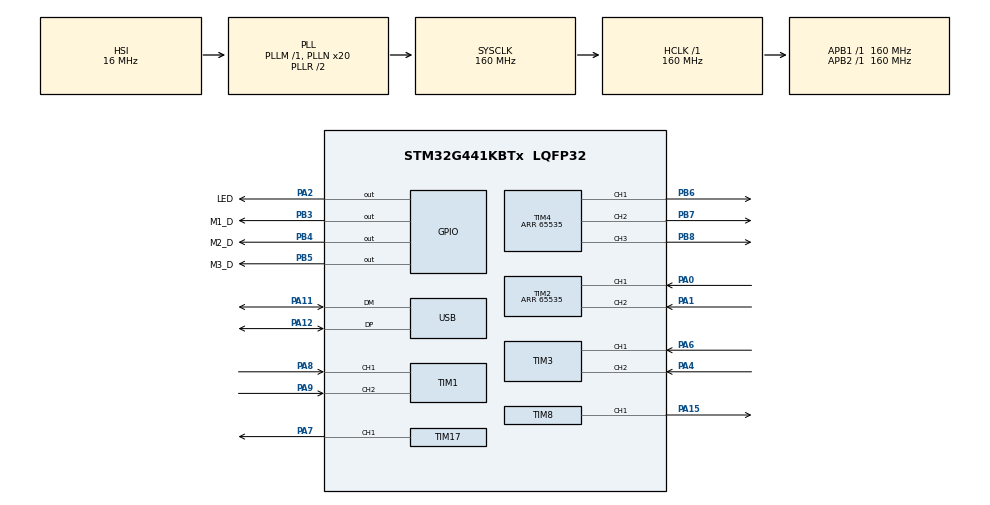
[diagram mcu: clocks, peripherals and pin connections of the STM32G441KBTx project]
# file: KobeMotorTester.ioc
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Dma.DMA_GENERATOR0.0.Direction=DMA_MEMORY_TO_PERIPH
Dma.DMA_GENERATOR0.0.EventEnable=DISABLE
Dma.DMA_GENERATOR0.0.Instance=DMA1_Channel1
Dma.DMA_GENERATOR0.0.MemDataAlignment=DMA_MDATAALIGN_WORD
Dma.DMA_GENERATOR0.0.MemInc=DMA_MINC_ENABLE
Dma.DMA_GENERATOR0.0.Mode=DMA_NORMAL
Dma.DMA_GENERATOR0.0.PeriphDataAlignment=DMA_PDATAALIGN_WORD
Dma.DMA_GENERATOR0.0.PeriphInc=DMA_PINC_DISABLE
Dma.DMA_GENERATOR0.0.Polarity=HAL_DMAMUX_REQ_GEN_RISING
Dma.DMA_GENERATOR0.0.Priority=DMA_PRIORITY_HIGH
Dma.DMA_GENERATOR0.0.RequestNumber=1
Dma.DMA_GENERATOR0.0.SignalID=NONE
Dma.DMA_GENERATOR0.0.SyncEnable=DISABLE
Dma.DMA_GENERATOR0.0.SyncPolarity=HAL_DMAMUX_SYNC_NO_EVENT
Dma.DMA_GENERATOR0.0.SyncRequestNumber=1
Dma.DMA_GENERATOR0.0.SyncSignalID=NONE
Dma.Request0=DMA_GENERATOR0
Dma.Request1=TIM8_CH1
Dma.TIM8_CH1.1.Direction=DMA_MEMORY_TO_PERIPH
Dma.TIM8_CH1.1.EventEnable=DISABLE
Dma.TIM8_CH1.1.Instance=DMA1_Channel2
Dma.TIM8_CH1.1.MemDataAlignment=DMA_MDATAALIGN_HALFWORD
Dma.TIM8_CH1.1.MemInc=DMA_MINC_ENABLE
Dma.TIM8_CH1.1.Mode=DMA_CIRCULAR
Dma.TIM8_CH1.1.PeriphDataAlignment=DMA_PDATAALIGN_HALFWORD
Dma.TIM8_CH1.1.PeriphInc=DMA_PINC_DISABLE
Dma.TIM8_CH1.1.Polarity=HAL_DMAMUX_REQ_GEN_RISING
Dma.TIM8_CH1.1.Priority=DMA_PRIORITY_HIGH
Dma.TIM8_CH1.1.RequestNumber=1
Dma.TIM8_CH1.1.SignalID=NONE
Dma.TIM8_CH1.1.SyncEnable=DISABLE
Dma.TIM8_CH1.1.SyncPolarity=HAL_DMAMUX_SYNC_NO_EVENT
Dma.TIM8_CH1.1.SyncRequestNumber=1
Dma.TIM8_CH1.1.SyncSignalID=NONE
Mcu.Family=STM32G4
Mcu.Name=STM32G441KBTx
Mcu.Package=LQFP32
NVIC.DMA1_Channel2_IRQn=true\:0\:0\:false\:false\:true\:false\:true
NVIC.PriorityGroup=NVIC_PRIORITYGROUP_4
NVIC.TIM4_IRQn=true\:0\:0\:false\:false\:true\:true\:true
NVIC.TIM6_DAC_IRQn=true\:0\:0\:false\:false\:true\:true\:true
NVIC.USB_LP_IRQn=true\:0\:0\:false\:false\:true\:false\:true
PA0.Signal=S_TIM2_CH1
PA1.Signal=S_TIM2_CH2
PA11.Mode=Device
PA11.Signal=USB_DM
PA12.Mode=Device
PA12.Signal=USB_DP
PA13.Mode=Serial_Wire
PA13.Signal=SYS_JTMS-SWDIO
PA14.Mode=Serial_Wire
PA14.Signal=SYS_JTCK-SWCLK
PA15.Signal=S_TIM8_CH1
PA2.GPIO_Label=LED
PA2.Signal=GPIO_Output
PA4.Signal=S_TIM3_CH2
PA6.Signal=S_TIM3_CH1
PA7.Signal=S_TIM17_CH1
PA8.Signal=S_TIM1_CH1
PA9.Signal=S_TIM1_CH2
PB3.GPIO_Label=M1_D
PB3.Signal=GPIO_Output
PB4.GPIO_Label=M2_D
PB4.Signal=GPIO_Output
PB5.GPIO_Label=M3_D
PB5.Signal=GPIO_Output
PB6.Signal=S_TIM4_CH1
PB7.Signal=S_TIM4_CH2
PB8-BOOT0.Signal=S_TIM4_CH3
ProjectManager.HeapSize=0x200
ProjectManager.StackSize=0x400
ProjectManager.TargetToolchain=STM32CubeIDE
RCC.ADC12Freq_Value=160000000
RCC.AHBFreq_Value=160000000
RCC.APB1Freq_Value=160000000
RCC.APB1TimFreq_Value=160000000
RCC.APB2Freq_Value=160000000
RCC.APB2TimFreq_Value=160000000
RCC.CK48CLockSelection=RCC_USBCLKSOURCE_HSI48
RCC.CortexFreq_Value=160000000
RCC.EXTERNAL_CLOCK_VALUE=12288000
RCC.HCLKFreq_Value=160000000
RCC.HSE_VALUE=8000000
RCC.HSI48_VALUE=48000000
RCC.HSI_VALUE=16000000
RCC.LSE_VALUE=32768
RCC.PLLN=20
RCC.PLLQ=RCC_PLLQ_DIV4
RCC.SYSCLKFreq_VALUE=160000000
RCC.SYSCLKSource=RCC_SYSCLKSOURCE_PLLCLK
RCC.USBFreq_Value=48000000
RCC.VCOOutputFreq_Value=320000000
SH.S_TIM17_CH1.0=TIM17_CH1,PWM Generation1 CH1
SH.S_TIM1_CH1.0=TIM1_CH1,Encoder_Interface
SH.S_TIM1_CH2.0=TIM1_CH2,Encoder_Interface
SH.S_TIM2_CH1.0=TIM2_CH1,Encoder_Interface
SH.S_TIM2_CH2.0=TIM2_CH2,Encoder_Interface
SH.S_TIM3_CH1.0=TIM3_CH1,Encoder_Interface
SH.S_TIM3_CH2.0=TIM3_CH2,Encoder_Interface
SH.S_TIM4_CH1.0=TIM4_CH1,PWM Generation1 CH1
SH.S_TIM4_CH2.0=TIM4_CH2,PWM Generation2 CH2
SH.S_TIM4_CH3.0=TIM4_CH3,PWM Generation3 CH3
SH.S_TIM8_CH1.0=TIM8_CH1,PWM Generation1 CH1
TIM1.EncoderMode=TIM_ENCODERMODE_TI12
TIM17.Channel=TIM_CHANNEL_1
TIM2.EncoderMode=TIM_ENCODERMODE_TI12
TIM2.PeriodNoDither=65535
TIM3.EncoderMode=TIM_ENCODERMODE_TI12
TIM4.AutoReloadPreload=TIM_AUTORELOAD_PRELOAD_DISABLE
TIM4.Channel-PWM\ Generation1\ CH1=TIM_CHANNEL_1
TIM4.Channel-PWM\ Generation2\ CH2=TIM_CHANNEL_2
TIM4.Channel-PWM\ Generation3\ CH3=TIM_CHANNEL_3
TIM4.PeriodNoDither=65535
TIM6.PeriodNoDither=999
TIM6.Prescaler=1599
TIM8.Channel-PWM\ Generation1\ CH1=TIM_CHANNEL_1
TIM8.PeriodNoDither=1066
TIM8.Prescaler=0
USB_DEVICE.CLASS_NAME_FS=CDC
USB_DEVICE.VirtualMode=Cdc
USB_DEVICE.VirtualModeFS=Cdc_FS
VP_SYS_VS_DBSignals.Mode=DisableDeadBatterySignals
VP_TIM17_VS_ClockSourceINT.Mode=Enable_Timer
VP_TIM6_VS_ClockSourceINT.Mode=Enable_Timer
VP_USB_DEVICE_VS_USB_DEVICE_CDC_FS.Mode=CDC_FS
board=custom

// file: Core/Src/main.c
/* USER CODE BEGIN Header */
/**
  ******************************************************************************
  * @file           : main.c
  * @brief          : Main program body
  ******************************************************************************
  * @attention
  *
  * <h2><center>&copy; Copyright (c) 2021 STMicroelectronics.
  * All rights reserved.</center></h2>
  *
  * This software component is licensed by ST under BSD 3-Clause license,
  * the "License"; You may not use this file except in compliance with the
  * License. You may obtain a copy of the License at:
  *                        opensource.org/licenses/BSD-3-Clause
  *
  ******************************************************************************
  */
/* USER CODE END Header */
#include "main.h"
#include "usb_device.h"

/* USER CODE BEGIN Includes */

#include "usbd_cdc_if.h"

/* USER CODE END Includes */

TIM_HandleTypeDef htim1;
TIM_HandleTypeDef htim2;
TIM_HandleTypeDef htim3;
TIM_HandleTypeDef htim4;
TIM_HandleTypeDef htim6;
TIM_HandleTypeDef htim8;
TIM_HandleTypeDef htim17;
DMA_HandleTypeDef hdma_tim8_ch1;

DMA_HandleTypeDef hdma_dma_generator0;

void SystemClock_Config(void);
static void MX_GPIO_Init(void);
static void MX_DMA_Init(void);
static void MX_TIM2_Init(void);
static void MX_TIM3_Init(void);
static void MX_TIM1_Init(void);
static void MX_TIM4_Init(void);
static void MX_TIM8_Init(void);
static void MX_TIM6_Init(void);
static void MX_TIM17_Init(void);

/* USER CODE BEGIN 0 */

typedef struct Command { // (1)
  int16_t speed1;
  int16_t speed2;
  int16_t speed3;
  uint16_t throwerSpeed;
  uint16_t delimiter; // (2)
} Command;

typedef struct Feedback { // (3)
  int16_t speed1;
  int16_t speed2;
  int16_t speed3;
  uint16_t delimiter;
} Feedback;

typedef struct MotorControl {
	int16_t speed;
	int16_t position;
	int32_t integraal;
	int16_t p_gain;
	int16_t i_gain;
	int32_t newspeed;
	int16_t positionChange;
} MotorControl;

MotorControl motor1Control = {
	  .speed = 0,
	  .position = 0,
	  .integraal = 0,
	  .p_gain = 3000,
	  .i_gain = 675,
	  .newspeed = 0,
	  .positionChange = 0
};

MotorControl motor2Control = {
	  .speed = 0,
	  .position = 0,
	  .integraal = 0,
	  .p_gain = 3000,
	  .i_gain = 675,
	  .newspeed = 0,
	  .positionChange = 0
};

MotorControl motor3Control = {
	  .speed = 0,
	  .position = 0,
	  .integraal = 0,
	  .p_gain = 3000,
	  .i_gain = 675,
	  .newspeed = 0,
	  .positionChange = 0
};

Command command = {.speed1 = 0, .speed2 = 0, .speed3 = 0, .throwerSpeed = 0, .delimiter = 0}; // (4)
volatile uint8_t isCommandReceived = 0; // (5)
volatile uint8_t driverReset = 0;
uint16_t timer = 0;
uint16_t enable_pid = 0;
Feedback feedback = { // (1)
	      .speed1 = 0,
	      .speed2 = 0,
	      .speed3 = 0,
	      .delimiter = 0xAAAA
	  };;

int32_t clamp(int32_t value, int32_t minValue, int32_t maxValue) {
	if (value > maxValue) {
		return maxValue;
	}

	if (value < minValue) {
		return minValue;
	}
	return value;
}

void CDC_On_Receive(uint8_t* buffer, uint32_t* length) { // (6)
	if (*length == sizeof(Command)) { // (7)
		memcpy(&command, buffer, sizeof(Command)); // (8)

		if (command.delimiter == 0xAAAA) { // (9)
			isCommandReceived = 1;
		}
		if (command.delimiter == 0xBBBB) { // (9)
	  		driverReset = 1;
		}
	}
}

int32_t PIDcontrol(MotorControl* control, int16_t position){
	control->positionChange = position - control->position; //Lahutab vana positsiooni, et saada kiiruse
	control->position = position; //Salvestab asendi struktuuri
	int32_t error = control->speed -control->positionChange; //Kui suur on erinevus kiiruste vahel
	control->integraal += error;

	return control->p_gain * error + control->i_gain * control->integraal;
}

uint16_t pwmData[20];

void Thrower_Send (uint16_t command){
	// compute checksum

	uint16_t packet = (command << 1) | 0;

	HAL_TIM_PWM_Stop_DMA(&htim8, TIM_CHANNEL_1);
	int csum = 0;
	int csum_data = packet;
	for (int i = 0; i < 3; i++) {
		csum ^=  csum_data;   // xor data by nibbles
		csum_data >>= 4;
	}
	csum &= 0xf;
	// append checksum
	packet = (packet << 4) | csum;

	int counter = 0;
	for (int i=15; i>=0; i--)
	{
		if (packet & (1<<i)){
			pwmData[counter] = 798;
		}
		else{
			pwmData[counter] = 399;
		}
		counter++;
	}

	for (int i=19; i>=16; i--){
		pwmData[i] = 0;
	}
	HAL_TIM_PWM_Start_DMA(&htim8, TIM_CHANNEL_1, (uint32_t *)pwmData, 20);
}

void HAL_TIM_PeriodElapsedCallback(TIM_HandleTypeDef *htim6) {
	if (enable_pid == 1){

		int16_t position;
		position = (int16_t)TIM1->CNT;
		int32_t pwmValue = PIDcontrol(&motor1Control, position);
		HAL_GPIO_WritePin(M1_D_GPIO_Port, M1_D_Pin, (pwmValue < 0) ? GPIO_PIN_SET : GPIO_PIN_RESET);
		TIM4->CCR1 = (uint16_t)clamp((pwmValue < 0) ? -pwmValue : pwmValue, 0, 65535);

		position = (int16_t)TIM2->CNT;
		pwmValue = PIDcontrol(&motor2Control, position);
		HAL_GPIO_WritePin(M2_D_GPIO_Port, M2_D_Pin, (pwmValue < 0) ? GPIO_PIN_SET : GPIO_PIN_RESET);
		TIM4->CCR2 = (uint16_t)clamp((pwmValue < 0) ? -pwmValue : pwmValue, 0, 65535);

		position = (int16_t)TIM3->CNT;
		pwmValue = PIDcontrol(&motor3Control, position);
		HAL_GPIO_WritePin(M3_D_GPIO_Port, M3_D_Pin, (pwmValue < 0) ? GPIO_PIN_SET : GPIO_PIN_RESET);
		TIM4->CCR3 = (uint16_t)clamp((pwmValue < 0) ? -pwmValue : pwmValue, 0, 65535);

		timer+=1;
		if (timer == 50){
			timer = 0;
			enable_pid = 0;
			motor1Control.speed = 0;
			TIM4->CCR1 = 0;
			TIM4->CCR2 = 0;
			TIM4->CCR3 = 0;
			motor2Control.speed = 0;
			motor3Control.speed = 0;
			Thrower_Send(0);
		}
	}
}

/*

/* USER CODE END 0 */

int main(void)
{

  /* MCU Configuration--------------------------------------------------------*/

  /* Reset of all peripherals, Initializes the Flash interface and the Systick. */
  HAL_Init();

  /* Configure the system clock */
  SystemClock_Config();

  /* Initialize all configured peripherals */
  MX_GPIO_Init();
  MX_DMA_Init();
  MX_TIM2_Init();
  MX_TIM3_Init();
  MX_TIM1_Init();
  MX_TIM4_Init();
  MX_TIM8_Init();
  MX_TIM6_Init();
  MX_USB_Device_Init();
  MX_TIM17_Init();
  /* USER CODE BEGIN 2 */

  HAL_TIM_PWM_Start(&htim17, TIM_CHANNEL_1);
  HAL_TIM_Encoder_Start(&htim1, TIM_CHANNEL_1 | TIM_CHANNEL_2);
  HAL_TIM_Encoder_Start(&htim2, TIM_CHANNEL_1 | TIM_CHANNEL_2);
  HAL_TIM_Encoder_Start(&htim3, TIM_CHANNEL_1 | TIM_CHANNEL_2);
  HAL_TIM_PWM_Start(&htim4, TIM_CHANNEL_1);
  HAL_TIM_PWM_Start(&htim4, TIM_CHANNEL_2);
  HAL_TIM_PWM_Start(&htim4, TIM_CHANNEL_3);

  TIM17->CCR1 = 65535;
  HAL_Delay(100);
  TIM17->CCR1 = 61750;
  HAL_Delay(100);
  TIM17->CCR1 = 65535;
  TIM4->CCR1 = 0;
  TIM4->CCR2 = 0;
  TIM4->CCR3 = 0;

  Thrower_Send(0);

  HAL_TIM_Base_Start_IT(&htim6);

  /* USER CODE END 2 */

  /* Infinite loop */
  while (1)
  {

    /* USER CODE BEGIN 3 */

	  if (driverReset) {
		  driverReset = 0;
		  TIM17->CCR1 = 61750;
		  HAL_Delay(100);
	   	  TIM17->CCR1 = 65535;

	  }

	  if (isCommandReceived) { // (2)
	        isCommandReceived = 0;
	        motor1Control.speed = command.speed1;
	        motor2Control.speed = command.speed2;
	        motor3Control.speed = command.speed3;

	        Thrower_Send(command.throwerSpeed);
  	        timer = 0;
  	        enable_pid = 1;

	        feedback.speed1 = motor1Control.speed; // (4)
	        feedback.speed2 = motor2Control.speed;
	        feedback.speed3 = motor3Control.speed;

	        CDC_Transmit_FS(&feedback, sizeof(feedback)); // (5)
	      }
	    }

  /* USER CODE END 3 */
}

void SystemClock_Config(void)
{
  RCC_OscInitTypeDef RCC_OscInitStruct = {0};
  RCC_ClkInitTypeDef RCC_ClkInitStruct = {0};
  RCC_PeriphCLKInitTypeDef PeriphClkInit = {0};

  /** Configure the main internal regulator output voltage
  */
  HAL_PWREx_ControlVoltageScaling(PWR_REGULATOR_VOLTAGE_SCALE1_BOOST);
  /** Initializes the RCC Oscillators according to the specified parameters
  * in the RCC_OscInitTypeDef structure.
  */
  RCC_OscInitStruct.OscillatorType = RCC_OSCILLATORTYPE_HSI|RCC_OSCILLATORTYPE_HSI48;
  RCC_OscInitStruct.HSIState = RCC_HSI_ON;
  RCC_OscInitStruct.HSICalibrationValue = RCC_HSICALIBRATION_DEFAULT;
  RCC_OscInitStruct.HSI48State = RCC_HSI48_ON;
  RCC_OscInitStruct.PLL.PLLState = RCC_PLL_ON;
  RCC_OscInitStruct.PLL.PLLSource = RCC_PLLSOURCE_HSI;
  RCC_OscInitStruct.PLL.PLLM = RCC_PLLM_DIV1;
  RCC_OscInitStruct.PLL.PLLN = 20;
  RCC_OscInitStruct.PLL.PLLP = RCC_PLLP_DIV2;
  RCC_OscInitStruct.PLL.PLLQ = RCC_PLLQ_DIV4;
  RCC_OscInitStruct.PLL.PLLR = RCC_PLLR_DIV2;
  if (HAL_RCC_OscConfig(&RCC_OscInitStruct) != HAL_OK)
  {
    Error_Handler();
  }
  /** Initializes the CPU, AHB and APB buses clocks
  */
  RCC_ClkInitStruct.ClockType = RCC_CLOCKTYPE_HCLK|RCC_CLOCKTYPE_SYSCLK
                              |RCC_CLOCKTYPE_PCLK1|RCC_CLOCKTYPE_PCLK2;
  RCC_ClkInitStruct.SYSCLKSource = RCC_SYSCLKSOURCE_PLLCLK;
  RCC_ClkInitStruct.AHBCLKDivider = RCC_SYSCLK_DIV1;
  RCC_ClkInitStruct.APB1CLKDivider = RCC_HCLK_DIV1;
  RCC_ClkInitStruct.APB2CLKDivider = RCC_HCLK_DIV1;

  if (HAL_RCC_ClockConfig(&RCC_ClkInitStruct, FLASH_LATENCY_4) != HAL_OK)
  {
    Error_Handler();
  }
  /** Initializes the peripherals clocks
  */
  PeriphClkInit.PeriphClockSelection = RCC_PERIPHCLK_USB;
  PeriphClkInit.UsbClockSelection = RCC_USBCLKSOURCE_HSI48;
  if (HAL_RCCEx_PeriphCLKConfig(&PeriphClkInit) != HAL_OK)
  {
    Error_Handler();
  }
}

static void MX_TIM1_Init(void)
{

  TIM_Encoder_InitTypeDef sConfig = {0};
  TIM_MasterConfigTypeDef sMasterConfig = {0};

  htim1.Instance = TIM1;
  htim1.Init.Prescaler = 0;
  htim1.Init.CounterMode = TIM_COUNTERMODE_UP;
  htim1.Init.Period = 65535;
  htim1.Init.ClockDivision = TIM_CLOCKDIVISION_DIV1;
  htim1.Init.RepetitionCounter = 0;
  htim1.Init.AutoReloadPreload = TIM_AUTORELOAD_PRELOAD_DISABLE;
  sConfig.EncoderMode = TIM_ENCODERMODE_TI12;
  sConfig.IC1Polarity = TIM_ICPOLARITY_RISING;
  sConfig.IC1Selection = TIM_ICSELECTION_DIRECTTI;
  sConfig.IC1Prescaler = TIM_ICPSC_DIV1;
  sConfig.IC1Filter = 0;
  sConfig.IC2Polarity = TIM_ICPOLARITY_RISING;
  sConfig.IC2Selection = TIM_ICSELECTION_DIRECTTI;
  sConfig.IC2Prescaler = TIM_ICPSC_DIV1;
  sConfig.IC2Filter = 0;
  if (HAL_TIM_Encoder_Init(&htim1, &sConfig) != HAL_OK)
  {
    Error_Handler();
  }
  sMasterConfig.MasterOutputTrigger = TIM_TRGO_RESET;
  sMasterConfig.MasterOutputTrigger2 = TIM_TRGO2_RESET;
  sMasterConfig.MasterSlaveMode = TIM_MASTERSLAVEMODE_DISABLE;
  if (HAL_TIMEx_MasterConfigSynchronization(&htim1, &sMasterConfig) != HAL_OK)
  {
    Error_Handler();
  }

}

static void MX_TIM2_Init(void)
{

  TIM_Encoder_InitTypeDef sConfig = {0};
  TIM_MasterConfigTypeDef sMasterConfig = {0};

  htim2.Instance = TIM2;
  htim2.Init.Prescaler = 0;
  htim2.Init.CounterMode = TIM_COUNTERMODE_UP;
  htim2.Init.Period = 65535;
  htim2.Init.ClockDivision = TIM_CLOCKDIVISION_DIV1;
  htim2.Init.AutoReloadPreload = TIM_AUTORELOAD_PRELOAD_DISABLE;
  sConfig.EncoderMode = TIM_ENCODERMODE_TI12;
  sConfig.IC1Polarity = TIM_ICPOLARITY_RISING;
  sConfig.IC1Selection = TIM_ICSELECTION_DIRECTTI;
  sConfig.IC1Prescaler = TIM_ICPSC_DIV1;
  sConfig.IC1Filter = 0;
  sConfig.IC2Polarity = TIM_ICPOLARITY_RISING;
  sConfig.IC2Selection = TIM_ICSELECTION_DIRECTTI;
  sConfig.IC2Prescaler = TIM_ICPSC_DIV1;
  sConfig.IC2Filter = 0;
  if (HAL_TIM_Encoder_Init(&htim2, &sConfig) != HAL_OK)
  {
    Error_Handler();
  }
  sMasterConfig.MasterOutputTrigger = TIM_TRGO_RESET;
  sMasterConfig.MasterSlaveMode = TIM_MASTERSLAVEMODE_DISABLE;
  if (HAL_TIMEx_MasterConfigSynchronization(&htim2, &sMasterConfig) != HAL_OK)
  {
    Error_Handler();
  }

}

static void MX_TIM3_Init(void)
{

  TIM_Encoder_InitTypeDef sConfig = {0};
  TIM_MasterConfigTypeDef sMasterConfig = {0};

  htim3.Instance = TIM3;
  htim3.Init.Prescaler = 0;
  htim3.Init.CounterMode = TIM_COUNTERMODE_UP;
  htim3.Init.Period = 65535;
  htim3.Init.ClockDivision = TIM_CLOCKDIVISION_DIV1;
  htim3.Init.AutoReloadPreload = TIM_AUTORELOAD_PRELOAD_DISABLE;
  sConfig.EncoderMode = TIM_ENCODERMODE_TI12;
  sConfig.IC1Polarity = TIM_ICPOLARITY_RISING;
  sConfig.IC1Selection = TIM_ICSELECTION_DIRECTTI;
  sConfig.IC1Prescaler = TIM_ICPSC_DIV1;
  sConfig.IC1Filter = 0;
  sConfig.IC2Polarity = TIM_ICPOLARITY_RISING;
  sConfig.IC2Selection = TIM_ICSELECTION_DIRECTTI;
  sConfig.IC2Prescaler = TIM_ICPSC_DIV1;
  sConfig.IC2Filter = 0;
  if (HAL_TIM_Encoder_Init(&htim3, &sConfig) != HAL_OK)
  {
    Error_Handler();
  }
  sMasterConfig.MasterOutputTrigger = TIM_TRGO_RESET;
  sMasterConfig.MasterSlaveMode = TIM_MASTERSLAVEMODE_DISABLE;
  if (HAL_TIMEx_MasterConfigSynchronization(&htim3, &sMasterConfig) != HAL_OK)
  {
    Error_Handler();
  }

}

static void MX_TIM4_Init(void)
{

  TIM_MasterConfigTypeDef sMasterConfig = {0};
  TIM_OC_InitTypeDef sConfigOC = {0};

  htim4.Instance = TIM4;
  htim4.Init.Prescaler = 0;
  htim4.Init.CounterMode = TIM_COUNTERMODE_UP;
  htim4.Init.Period = 65535;
  htim4.Init.ClockDivision = TIM_CLOCKDIVISION_DIV1;
  htim4.Init.AutoReloadPreload = TIM_AUTORELOAD_PRELOAD_DISABLE;
  if (HAL_TIM_PWM_Init(&htim4) != HAL_OK)
  {
    Error_Handler();
  }
  sMasterConfig.MasterOutputTrigger = TIM_TRGO_RESET;
  sMasterConfig.MasterSlaveMode = TIM_MASTERSLAVEMODE_DISABLE;
  if (HAL_TIMEx_MasterConfigSynchronization(&htim4, &sMasterConfig) != HAL_OK)
  {
    Error_Handler();
  }
  sConfigOC.OCMode = TIM_OCMODE_PWM1;
  sConfigOC.Pulse = 0;
  sConfigOC.OCPolarity = TIM_OCPOLARITY_HIGH;
  sConfigOC.OCFastMode = TIM_OCFAST_DISABLE;
  if (HAL_TIM_PWM_ConfigChannel(&htim4, &sConfigOC, TIM_CHANNEL_1) != HAL_OK)
  {
    Error_Handler();
  }
  if (HAL_TIM_PWM_ConfigChannel(&htim4, &sConfigOC, TIM_CHANNEL_2) != HAL_OK)
  {
    Error_Handler();
  }
  if (HAL_TIM_PWM_ConfigChannel(&htim4, &sConfigOC, TIM_CHANNEL_3) != HAL_OK)
  {
    Error_Handler();
  }
  HAL_TIM_MspPostInit(&htim4);

}

static void MX_TIM6_Init(void)
{

  TIM_MasterConfigTypeDef sMasterConfig = {0};

  htim6.Instance = TIM6;
  htim6.Init.Prescaler = 1599;
  htim6.Init.CounterMode = TIM_COUNTERMODE_UP;
  htim6.Init.Period = 999;
  htim6.Init.AutoReloadPreload = TIM_AUTORELOAD_PRELOAD_DISABLE;
  if (HAL_TIM_Base_Init(&htim6) != HAL_OK)
  {
    Error_Handler();
  }
  sMasterConfig.MasterOutputTrigger = TIM_TRGO_RESET;
  sMasterConfig.MasterSlaveMode = TIM_MASTERSLAVEMODE_DISABLE;
  if (HAL_TIMEx_MasterConfigSynchronization(&htim6, &sMasterConfig) != HAL_OK)
  {
    Error_Handler();
  }

}

static void MX_TIM8_Init(void)
{

  TIM_MasterConfigTypeDef sMasterConfig = {0};
  TIM_OC_InitTypeDef sConfigOC = {0};
  TIM_BreakDeadTimeConfigTypeDef sBreakDeadTimeConfig = {0};

  htim8.Instance = TIM8;
  htim8.Init.Prescaler = 0;
  htim8.Init.CounterMode = TIM_COUNTERMODE_UP;
  htim8.Init.Period = 1066;
  htim8.Init.ClockDivision = TIM_CLOCKDIVISION_DIV1;
  htim8.Init.RepetitionCounter = 0;
  htim8.Init.AutoReloadPreload = TIM_AUTORELOAD_PRELOAD_DISABLE;
  if (HAL_TIM_PWM_Init(&htim8) != HAL_OK)
  {
    Error_Handler();
  }
  sMasterConfig.MasterOutputTrigger = TIM_TRGO_RESET;
  sMasterConfig.MasterOutputTrigger2 = TIM_TRGO2_RESET;
  sMasterConfig.MasterSlaveMode = TIM_MASTERSLAVEMODE_DISABLE;
  if (HAL_TIMEx_MasterConfigSynchronization(&htim8, &sMasterConfig) != HAL_OK)
  {
    Error_Handler();
  }
  sConfigOC.OCMode = TIM_OCMODE_PWM1;
  sConfigOC.Pulse = 0;
  sConfigOC.OCPolarity = TIM_OCPOLARITY_HIGH;
  sConfigOC.OCNPolarity = TIM_OCNPOLARITY_HIGH;
  sConfigOC.OCFastMode = TIM_OCFAST_DISABLE;
  sConfigOC.OCIdleState = TIM_OCIDLESTATE_RESET;
  sConfigOC.OCNIdleState = TIM_OCNIDLESTATE_RESET;
  if (HAL_TIM_PWM_ConfigChannel(&htim8, &sConfigOC, TIM_CHANNEL_1) != HAL_OK)
  {
    Error_Handler();
  }
  sBreakDeadTimeConfig.OffStateRunMode = TIM_OSSR_DISABLE;
  sBreakDeadTimeConfig.OffStateIDLEMode = TIM_OSSI_DISABLE;
  sBreakDeadTimeConfig.LockLevel = TIM_LOCKLEVEL_OFF;
  sBreakDeadTimeConfig.DeadTime = 0;
  sBreakDeadTimeConfig.BreakState = TIM_BREAK_DISABLE;
  sBreakDeadTimeConfig.BreakPolarity = TIM_BREAKPOLARITY_HIGH;
  sBreakDeadTimeConfig.BreakFilter = 0;
  sBreakDeadTimeConfig.BreakAFMode = TIM_BREAK_AFMODE_INPUT;
  sBreakDeadTimeConfig.Break2State = TIM_BREAK2_DISABLE;
  sBreakDeadTimeConfig.Break2Polarity = TIM_BREAK2POLARITY_HIGH;
  sBreakDeadTimeConfig.Break2Filter = 0;
  sBreakDeadTimeConfig.Break2AFMode = TIM_BREAK_AFMODE_INPUT;
  sBreakDeadTimeConfig.AutomaticOutput = TIM_AUTOMATICOUTPUT_DISABLE;
  if (HAL_TIMEx_ConfigBreakDeadTime(&htim8, &sBreakDeadTimeConfig) != HAL_OK)
  {
    Error_Handler();
  }
  HAL_TIM_MspPostInit(&htim8);

}

static void MX_TIM17_Init(void)
{

  TIM_OC_InitTypeDef sConfigOC = {0};
  TIM_BreakDeadTimeConfigTypeDef sBreakDeadTimeConfig = {0};

  htim17.Instance = TIM17;
  htim17.Init.Prescaler = 0;
  htim17.Init.CounterMode = TIM_COUNTERMODE_UP;
  htim17.Init.Period = 65535;
  htim17.Init.ClockDivision = TIM_CLOCKDIVISION_DIV1;
  htim17.Init.RepetitionCounter = 0;
  htim17.Init.AutoReloadPreload = TIM_AUTORELOAD_PRELOAD_DISABLE;
  if (HAL_TIM_Base_Init(&htim17) != HAL_OK)
  {
    Error_Handler();
  }
  if (HAL_TIM_PWM_Init(&htim17) != HAL_OK)
  {
    Error_Handler();
  }
  sConfigOC.OCMode = TIM_OCMODE_PWM1;
  sConfigOC.Pulse = 0;
  sConfigOC.OCPolarity = TIM_OCPOLARITY_HIGH;
  sConfigOC.OCNPolarity = TIM_OCNPOLARITY_HIGH;
  sConfigOC.OCFastMode = TIM_OCFAST_DISABLE;
  sConfigOC.OCIdleState = TIM_OCIDLESTATE_RESET;
  sConfigOC.OCNIdleState = TIM_OCNIDLESTATE_RESET;
  if (HAL_TIM_PWM_ConfigChannel(&htim17, &sConfigOC, TIM_CHANNEL_1) != HAL_OK)
  {
    Error_Handler();
  }
  sBreakDeadTimeConfig.OffStateRunMode = TIM_OSSR_DISABLE;
  sBreakDeadTimeConfig.OffStateIDLEMode = TIM_OSSI_DISABLE;
  sBreakDeadTimeConfig.LockLevel = TIM_LOCKLEVEL_OFF;
  sBreakDeadTimeConfig.DeadTime = 0;
  sBreakDeadTimeConfig.BreakState = TIM_BREAK_DISABLE;
  sBreakDeadTimeConfig.BreakPolarity = TIM_BREAKPOLARITY_HIGH;
  sBreakDeadTimeConfig.BreakFilter = 0;
  sBreakDeadTimeConfig.AutomaticOutput = TIM_AUTOMATICOUTPUT_DISABLE;
  if (HAL_TIMEx_ConfigBreakDeadTime(&htim17, &sBreakDeadTimeConfig) != HAL_OK)
  {
    Error_Handler();
  }
  HAL_TIM_MspPostInit(&htim17);

}

static void MX_DMA_Init(void)
{

  /* DMA controller clock enable */
  __HAL_RCC_DMAMUX1_CLK_ENABLE();
  __HAL_RCC_DMA1_CLK_ENABLE();

  /* Configure DMA request hdma_dma_generator0 on DMA1_Channel1 */
  hdma_dma_generator0.Instance = DMA1_Channel1;
  hdma_dma_generator0.Init.Request = DMA_REQUEST_GENERATOR0;
  hdma_dma_generator0.Init.Direction = DMA_MEMORY_TO_PERIPH;
  hdma_dma_generator0.Init.PeriphInc = DMA_PINC_DISABLE;
  hdma_dma_generator0.Init.MemInc = DMA_MINC_ENABLE;
  hdma_dma_generator0.Init.PeriphDataAlignment = DMA_PDATAALIGN_WORD;
  hdma_dma_generator0.Init.MemDataAlignment = DMA_MDATAALIGN_WORD;
  hdma_dma_generator0.Init.Mode = DMA_NORMAL;
  hdma_dma_generator0.Init.Priority = DMA_PRIORITY_HIGH;
  if (HAL_DMA_Init(&hdma_dma_generator0) != HAL_OK)
  {
    Error_Handler( );
  }

  /* DMA interrupt init */
  /* DMA1_Channel2_IRQn interrupt configuration */
  HAL_NVIC_SetPriority(DMA1_Channel2_IRQn, 0, 0);
  HAL_NVIC_EnableIRQ(DMA1_Channel2_IRQn);

}

static void MX_GPIO_Init(void)
{
  GPIO_InitTypeDef GPIO_InitStruct = {0};

  /* GPIO Ports Clock Enable */
  __HAL_RCC_GPIOA_CLK_ENABLE();
  __HAL_RCC_GPIOB_CLK_ENABLE();

  /*Configure GPIO pin Output Level */
  HAL_GPIO_WritePin(LED_GPIO_Port, LED_Pin, GPIO_PIN_RESET);

  /*Configure GPIO pin Output Level */
  HAL_GPIO_WritePin(GPIOB, M1_D_Pin|M2_D_Pin|M3_D_Pin, GPIO_PIN_RESET);

  /*Configure GPIO pin : LED_Pin */
  GPIO_InitStruct.Pin = LED_Pin;
  GPIO_InitStruct.Mode = GPIO_MODE_OUTPUT_PP;
  GPIO_InitStruct.Pull = GPIO_NOPULL;
  GPIO_InitStruct.Speed = GPIO_SPEED_FREQ_LOW;
  HAL_GPIO_Init(LED_GPIO_Port, &GPIO_InitStruct);

  /*Configure GPIO pins : M1_D_Pin M2_D_Pin M3_D_Pin */
  GPIO_InitStruct.Pin = M1_D_Pin|M2_D_Pin|M3_D_Pin;
  GPIO_InitStruct.Mode = GPIO_MODE_OUTPUT_PP;
  GPIO_InitStruct.Pull = GPIO_NOPULL;
  GPIO_InitStruct.Speed = GPIO_SPEED_FREQ_LOW;
  HAL_GPIO_Init(GPIOB, &GPIO_InitStruct);

}

void Error_Handler(void)
{
  __disable_irq();
  while (1)
  {
  }
}

/************************ (C) COPYRIGHT STMicroelectronics *****END OF FILE****/
